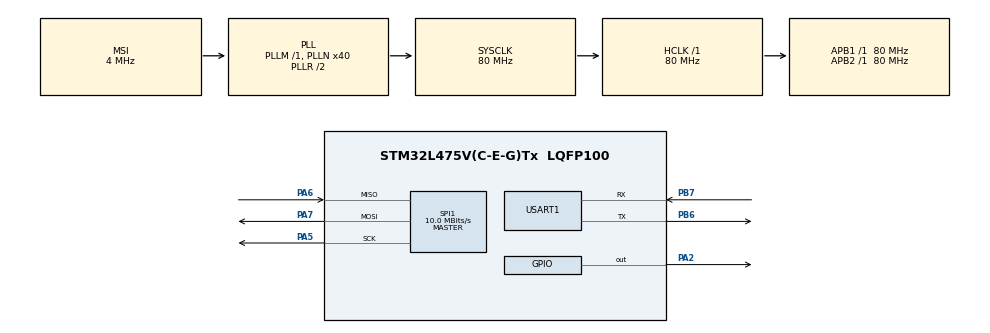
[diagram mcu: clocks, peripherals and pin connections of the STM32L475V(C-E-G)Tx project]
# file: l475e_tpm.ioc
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Mcu.Family=STM32L4
Mcu.Name=STM32L475V(C-E-G)Tx
Mcu.Package=LQFP100
NVIC.PriorityGroup=NVIC_PRIORITYGROUP_4
PA13\ (JTMS-SWDIO).Mode=Serial_Wire
PA13\ (JTMS-SWDIO).Signal=SYS_JTMS-SWDIO
PA14\ (JTCK-SWCLK).Mode=Serial_Wire
PA14\ (JTCK-SWCLK).Signal=SYS_JTCK-SWCLK
PA2.Signal=GPIO_Output
PA5.Mode=Full_Duplex_Master
PA5.Signal=SPI1_SCK
PA6.Mode=Full_Duplex_Master
PA6.Signal=SPI1_MISO
PA7.Mode=Full_Duplex_Master
PA7.Signal=SPI1_MOSI
PB6.Mode=Asynchronous
PB6.Signal=USART1_TX
PB7.Mode=Asynchronous
PB7.Signal=USART1_RX
ProjectManager.HeapSize=0x200
ProjectManager.StackSize=0x400
ProjectManager.TargetToolchain=STM32CubeIDE
RCC.AHBFreq_Value=80000000
RCC.APB1Freq_Value=80000000
RCC.APB1TimFreq_Value=80000000
RCC.APB2Freq_Value=80000000
RCC.APB2TimFreq_Value=80000000
RCC.CortexFreq_Value=80000000
RCC.HCLKFreq_Value=80000000
RCC.HSE_VALUE=8000000
RCC.HSI_VALUE=16000000
RCC.LSE_VALUE=32768
RCC.MSI_VALUE=4000000
RCC.PLLN=40
RCC.SYSCLKFreq_VALUE=80000000
RCC.SYSCLKSource=RCC_SYSCLKSOURCE_PLLCLK
RCC.VCOOutputFreq_Value=160000000
SPI1.BaudRatePrescaler=SPI_BAUDRATEPRESCALER_8
SPI1.CLKPhase=SPI_PHASE_2EDGE
SPI1.CLKPolarity=SPI_POLARITY_HIGH
SPI1.CalculateBaudRate=10.0 MBits/s
SPI1.DataSize=SPI_DATASIZE_8BIT
SPI1.Direction=SPI_DIRECTION_2LINES
SPI1.Mode=SPI_MODE_MASTER
SPI1.VirtualType=VM_MASTER
USART1.VirtualMode-Asynchronous=VM_ASYNC
board=custom

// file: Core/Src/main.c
/* USER CODE BEGIN Header */
/**
  ******************************************************************************
  * @file           : main.c
  * @brief          : Main program body
  ******************************************************************************
  * @attention
  *
  * Copyright (c) 2022 STMicroelectronics.
  * All rights reserved.
  *
  * This software is licensed under terms that can be found in the LICENSE file
  * in the root directory of this software component.
  * If no LICENSE file comes with this software, it is provided AS-IS.
  *
  ******************************************************************************
  */
/* USER CODE END Header */
#include "main.h"
#include "spi.h"
#include "usart.h"
#include "gpio.h"

/* USER CODE BEGIN Includes */
#include "tpm_demo.h"
/* USER CODE END Includes */

void SystemClock_Config(void);

int main(void)
{
  /* USER CODE BEGIN 1 */

 	uint8_t ch;
	bool displayMenu = true;
  /* USER CODE END 1 */

  /* MCU Configuration--------------------------------------------------------*/

  /* Reset of all peripherals, Initializes the Flash interface and the Systick. */
  HAL_Init();

  /* Configure the system clock */
  SystemClock_Config();

  /* Initialize all configured peripherals */
  MX_GPIO_Init();
  MX_SPI1_Init();
  MX_USART1_UART_Init();

  /* Infinite loop */
  /* USER CODE BEGIN WHILE */
  while (1)
  {
	  if (displayMenu)
	  {
		  scanf("%c", &ch);
		  if (ch)
		  {
			  displayMenu = false;
			  ch = menuHandler();
			  printf("%c",ch);
			  doCommand(ch);
		  }
	  }
	  else
	  {
		  ch = menuHandler();
		  if (ch)
		  {
			  printf("%c",ch);
			  doCommand(ch);
		  }
	  }

    /* USER CODE END WHILE */

  }
}

void SystemClock_Config(void)
{
  RCC_OscInitTypeDef RCC_OscInitStruct = {0};
  RCC_ClkInitTypeDef RCC_ClkInitStruct = {0};

  /** Configure the main internal regulator output voltage
  */
  if (HAL_PWREx_ControlVoltageScaling(PWR_REGULATOR_VOLTAGE_SCALE1) != HAL_OK)
  {
    Error_Handler();
  }

  /** Initializes the RCC Oscillators according to the specified parameters
  * in the RCC_OscInitTypeDef structure.
  */
  RCC_OscInitStruct.OscillatorType = RCC_OSCILLATORTYPE_MSI;
  RCC_OscInitStruct.MSIState = RCC_MSI_ON;
  RCC_OscInitStruct.MSICalibrationValue = 0;
  RCC_OscInitStruct.MSIClockRange = RCC_MSIRANGE_6;
  RCC_OscInitStruct.PLL.PLLState = RCC_PLL_ON;
  RCC_OscInitStruct.PLL.PLLSource = RCC_PLLSOURCE_MSI;
  RCC_OscInitStruct.PLL.PLLM = 1;
  RCC_OscInitStruct.PLL.PLLN = 40;
  RCC_OscInitStruct.PLL.PLLP = RCC_PLLP_DIV7;
  RCC_OscInitStruct.PLL.PLLQ = RCC_PLLQ_DIV2;
  RCC_OscInitStruct.PLL.PLLR = RCC_PLLR_DIV2;
  if (HAL_RCC_OscConfig(&RCC_OscInitStruct) != HAL_OK)
  {
    Error_Handler();
  }

  /** Initializes the CPU, AHB and APB buses clocks
  */
  RCC_ClkInitStruct.ClockType = RCC_CLOCKTYPE_HCLK|RCC_CLOCKTYPE_SYSCLK
                              |RCC_CLOCKTYPE_PCLK1|RCC_CLOCKTYPE_PCLK2;
  RCC_ClkInitStruct.SYSCLKSource = RCC_SYSCLKSOURCE_PLLCLK;
  RCC_ClkInitStruct.AHBCLKDivider = RCC_SYSCLK_DIV1;
  RCC_ClkInitStruct.APB1CLKDivider = RCC_HCLK_DIV1;
  RCC_ClkInitStruct.APB2CLKDivider = RCC_HCLK_DIV1;

  if (HAL_RCC_ClockConfig(&RCC_ClkInitStruct, FLASH_LATENCY_4) != HAL_OK)
  {
    Error_Handler();
  }
}

void Error_Handler(void)
{
  __disable_irq();
  while (1)
  {
  }
}
